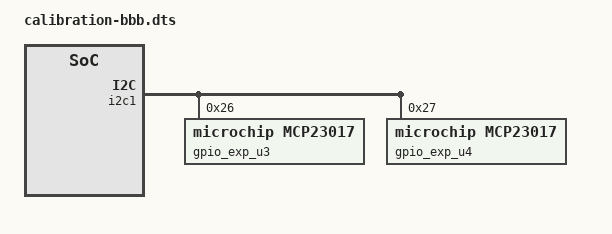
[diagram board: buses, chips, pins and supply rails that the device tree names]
#include "czechlight-bbb.dts"

&i2c1 {
	gpio_exp_u3: gpio@0x26 {
		compatible = "microchip,mcp23017";
		reg = <0x26>;

		gpio-controller;
		#gpio-cells = <2>;

		gpio-line-names =
			"S0_LW3",
			"M2_LW3",
			"M0_LW3",
			"M1_LW3",
			"M3_LW3",
			"S1_LW3",
			"",
			"",
			"MEMS2_RST",
			"",
			"M1_LW2",
			"M3_LW2",
			"S1_LW2",
			"S0_LW2",
			"M2_LW2",
			"M0_LW2";
	};

	gpio_exp_u4: gpio@0x27 {
		compatible = "microchip,mcp23017";
		reg = <0x27>;

		gpio-controller;
		#gpio-cells = <2>;

		gpio-line-names =
			"S0_LW1",
			"M2_LW1",
			"M0_LW1",
			"M1_LW1",
			"M3_LW1",
			"S1_LW1",
			"",
			"",
			"MEMS1_RST",
			"",
			"M1_LW4",
			"M3_LW4",
			"S1_LW4",
			"S0_LW4",
			"M2_LW4",
			"M0_LW4";
	};
};

&gpio1 {
	gpio-line-names =
		"",
		"",
		"",
		"",
		"",
		"",
		"",
		"",
		"",
		"",
		"",
		"",
		"",
		"",
		"",
		"",
		"ITLA_MS",
		"OCM_RST",
		"",
		"",
		"",
		"",
		"",
		"",
		"",
		"",
		"",
		"",
		"ITLA_SRQ",
		"",
		"",
		"";
};

&gpio3 {
	gpio-line-names =
		"",
		"",
		"",
		"",
		"",
		"",
		"",
		"",
		"",
		"",
		"",
		"",
		"",
		"",
		"",
		"",
		"",
		"",
		"",
		"ITLA_DIS",
		"",
		"ITAL_RST",
		"",
		"",
		"",
		"",
		"",
		"",
		"ITLA_SRQ",
		"",
		"",
		"";
};
